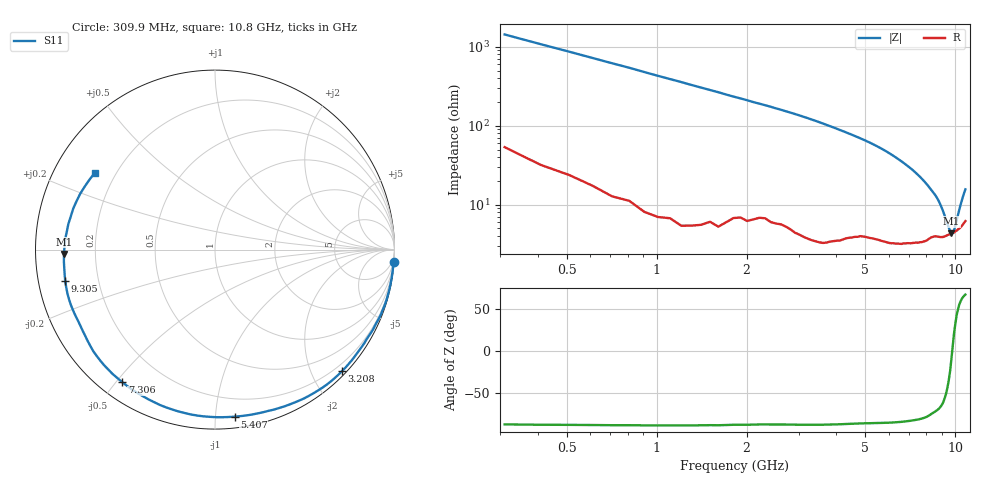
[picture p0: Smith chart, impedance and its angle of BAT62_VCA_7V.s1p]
! Infineon Technologies  Discrete & RF Semiconductors
! BAT62
! VCA = 7 V
! One-Port S-Parameters
# Hz  S  MA  R  50
!f  S11
!Hz  Mag  Ang
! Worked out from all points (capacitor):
!   106 points, 309.9 MHz to 10.8 GHz, reference 50 ohm
!   read as one part to ground: C = 359 fF near 309.9 MHz
!   lowest |Z| = 4.36 ohm at 9.705 GHz (marker M1)
!   series resonance near 9.765 GHz, so ESL is about 740 pH
!   S11 on the Smith chart (normalised r, x): 309.9 MHz: 1, -29; 3.208 GHz: 0.07, -2.49; 5.407 GHz: 0.07, -1.12; 7.306 GHz: 0.07, -0.52; 9.305 GHz: 0.08, -0.10; 10.8 GHz: 0.12, +0.29
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3.0985e8  0.9974 -4.0
1.0095e9  0.9963 -13.3
1.70915e9  0.9907 -22.7
2.4088e9  0.9818 -32.0
3.0085e9  0.9801 -40.6
3.2084e9  0.9797 -43.7
3.6082e9  0.9766 -50.2
4.10795e9  0.9665 -59.0
4.30785e9  0.9605 -62.4
4.90755e9  0.9449 -73.4
5.4073e9  0.9373 -83.3
5.6072e9  0.9348 -87.5
6.007e9  0.9299 -96.1
6.30685e9  0.9244 -102.8
6.6067e9  0.9184 -109.6
6.90655e9  0.9102 -116.2
7.30635e9  0.9015 -125.0
7.8061e9  0.8893 -135.9
8.2059e9  0.8726 -144.6
8.8056e9  0.8601 -156.5
9.10545e9  0.8578 -163.5
9.30535e9  0.8524 -168.3
9.50525e9  0.846 -173.2
9.70515e9  0.8414 -178.4
9.90505e9  0.8366 176.0
1.030485e10  0.8224 163.9
1.050475e10  0.813 157.5
1.08046e10  0.7947 147.5
